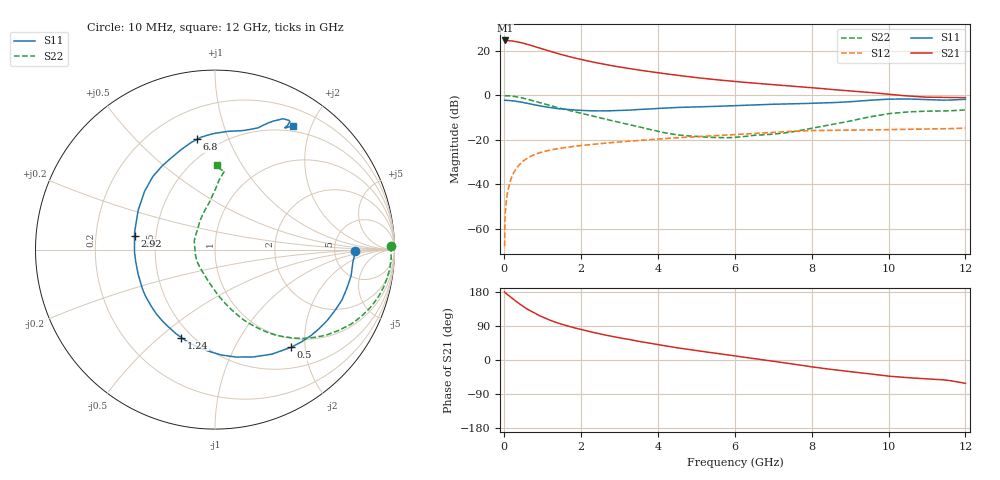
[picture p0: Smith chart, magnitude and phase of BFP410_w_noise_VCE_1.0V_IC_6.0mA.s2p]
! Infineon Technologies  Discrete & RF Semiconductors
! BFP410
! VCE =  1.0 V,  IC =  6.0 mA
! Common Emitter S-Parameters:  Nov 2015
# GHz  S  MA  R  50
!  f  S11  S21  S12  S22
! GHz  MAG  ANG  MAG  ANG  MAG  ANG  MAG  ANG
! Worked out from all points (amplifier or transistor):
!   243 points, 10 MHz to 12 GHz, reference 50 ohm
!   highest |S21| = 24.8 dB at 20 MHz (marker M1)
!   |S21| within 3 dB of that: start of sweep to 840.3 MHz
!   unconditionally stable (mu >= 1): start of sweep to 10.56 MHz; 2.824 GHz to end of sweep
!   at 240 MHz: K = 0.11, MSG = 29.8 dB, |S12| = -35.1 dB
!   at 1.84 GHz: K = 0.71, MSG = 19.9 dB, |S12| = -22.9 dB
!   at 12 GHz: K = 1.05, MAG = 5.5 dB, |S12| = -14.8 dB
!   lowest NFmin = 1.06 dB at 900 MHz
!   S11 on the Smith chart (normalised r, x): 10 MHz: 7.97, -0.38; 500 MHz: 0.83, -1.73; 1.24 GHz: 0.44, -0.59; 2.92 GHz: 0.38, +0.07; 6.8 GHz: 0.39, +0.77; 12 GHz: 0.42, +1.73
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0.01  0.7774 -0.7  17.11 179.5  0.0004 88.1  0.9801 1.1
0.02  0.779 -1.9  17.29 178.2  0.0016 94.1  0.9805 -0.8
0.065  0.7709 -6.9  17.17 174.2  0.005 85.0  0.9817 -3.8
0.15  0.7661 -16.2  17.05 167.5  0.0111 81.6  0.973 -9.2
0.3  0.7397 -32.1  16.37 155.5  0.0215 74.4  0.9361 -18.2
0.4  0.7168 -42.3  15.71 148.0  0.0277 69.6  0.9017 -23.7
0.5  0.6898 -52.1  14.97 141.0  0.0335 65.3  0.8626 -28.9
0.6  0.6633 -61.4  14.15 134.2  0.0384 61.5  0.8203 -33.5
0.8  0.6111 -78.6  12.54 122.9  0.0468 55.0  0.7361 -41.7
1  0.5652 -94.4  11.09 113.0  0.0534 49.9  0.6567 -48.6
1.24  0.5248 -110.9  9.594 103.2  0.0597 45.2  0.5748 -55.3
1.6  0.4851 -132.2  7.835 91.1  0.0671 40.3  0.4767 -63.1
2.02  0.4576 -152.8  6.389 79.9  0.0745 36.2  0.3925 -70.3
2.4  0.4472 -169.8  5.434 70.9  0.0806 33.1  0.3275 -76.7
2.92  0.4547 170.4  4.481 60.1  0.0882 29.5  0.2553 -85.9
4.1  0.5132 138.2  3.152 38.9  0.1054 22.3  0.1482 -115.0
5  0.5506 122.6  2.514 24.7  0.1175 16.5  0.1191 -149.0
6.1  0.5918 107.5  2.024 9.4  0.1322 9.6  0.1151 169.7
6.8  0.6227 99.2  1.803 -0.4  0.1432 4.7  0.1299 148.6
8.2  0.6695 80.7  1.442 -20.6  0.1618 -8.6  0.1949 112.8
10.2  0.8256 61.3  1.022 -44.2  0.1701 -22.7  0.4014 85.6
12  0.8157 57.9  0.889 -61.5  0.1827 -36.4  0.47 88.8
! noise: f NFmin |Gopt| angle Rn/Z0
0.45  1.09  0.2  1  0.22
0.9  1.06  0.19  15  0.18
1.8  1.21  0.13  52  0.16
2.4  1.21  0.11  50  0.19
5.5  2.12  0.32  -125  0.21
10  3.36  0.67  -51  1.79
